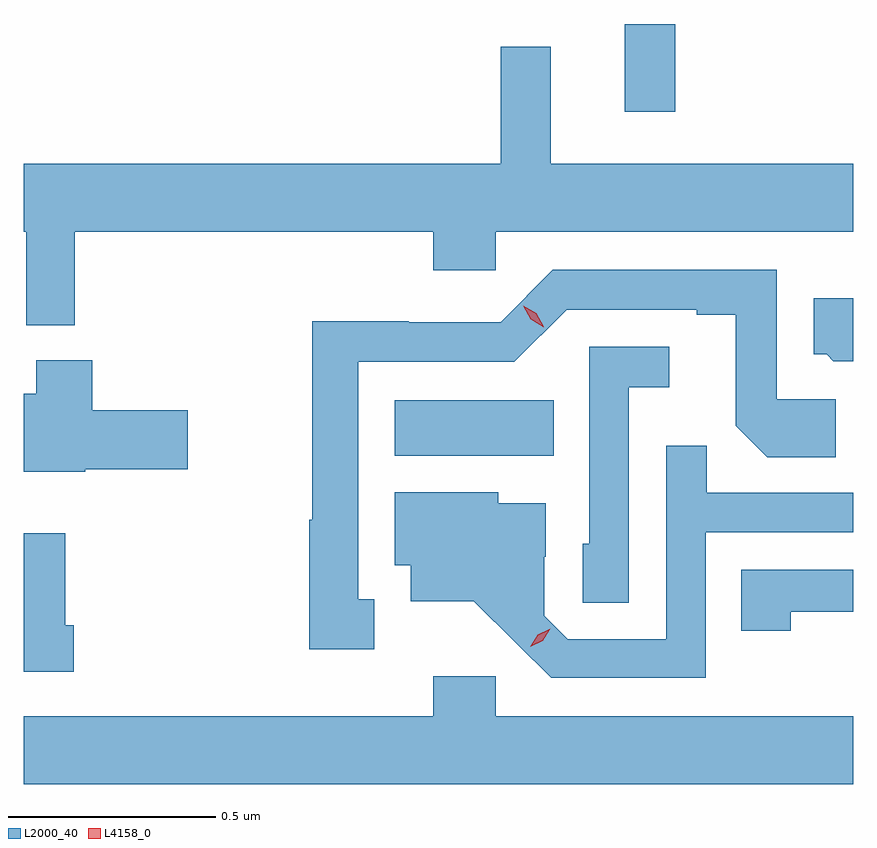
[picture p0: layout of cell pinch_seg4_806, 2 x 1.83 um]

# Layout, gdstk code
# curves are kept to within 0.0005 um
import gdstk
lib = gdstk.Library(unit=1e-6, precision=1e-09)
def R(c, l, rs):  # rectangles x0, y0, x1, y1
    for r in rs: c.add(gdstk.rectangle(r[:2], r[2:], *l))
def P(c, l, *ps):  # polygons
    for p in ps: c.add(gdstk.Polygon(p, *l))
L2000_40 = (2000, 40)
L4158_0 = (4158, 0)

pinch_seg4_806 = lib.new_cell('pinch_seg4_806')
R(pinch_seg4_806, L2000_40, [(796.046,818.924,796.43,819.058), (796.601,819.753,796.723,819.965)])
P(pinch_seg4_806, L2000_40, [(795.275,819.464),(796.139,819.464),(796.139,819.371),(796.29,819.371),(796.29,819.464),(797.152,819.464),(797.152,819.628),(796.423,819.628),(796.423,819.91),(796.302,819.91),(796.302,819.628),(795.152,819.628),(795.152,819.464),(795.158,819.464),(795.158,819.239),(795.275,819.239)],
  [(795.997,818.577),(795.958,818.577),(795.958,819.15),(796.335,819.15),(796.461,819.276),(796.775,819.276),(796.775,819.264),(796.869,819.264),(796.869,818.996),(796.945,818.92),(797.11,818.92),(797.11,819.06),(796.968,819.06),(796.968,819.372),(796.428,819.372),(796.302,819.246),(796.08,819.246),(796.08,819.248),(795.847,819.248),(795.847,818.769),(795.84,818.769),(795.84,818.457),(795.997,818.457)],
  [(797.152,819.304),(797.057,819.304),(797.057,819.168),(797.088,819.168),(797.104,819.152),(797.152,819.152)],
  [(796.611,819.089),(796.708,819.089),(796.708,819.186),(796.515,819.186),(796.515,818.712),(796.5,818.712),(796.5,818.569),(796.611,818.569)],
  [(795.3,818.891),(795.547,818.891),(795.547,819.033),(795.317,819.033),(795.317,819.154),(795.182,819.154),(795.182,819.073),(795.152,819.073),(795.152,818.885),(795.3,818.885)],
  [(796.797,818.739),(797.152,818.739),(797.152,818.835),(796.799,818.835),(796.799,818.948),(796.701,818.948),(796.701,818.481),(796.464,818.481),(796.407,818.538),(796.407,818.68),(796.411,818.68),(796.411,818.809),(796.296,818.809),(796.296,818.836),(796.046,818.836),(796.046,818.66),(796.085,818.66),(796.085,818.573),(796.237,818.573),(796.424,818.388),(796.797,818.388)],
  [(795.272,818.515),(795.252,818.515),(795.252,818.737),(795.152,818.737),(795.152,818.403),(795.272,818.403)],
  [(797.001,818.548),(797.152,818.548),(797.152,818.649),(796.882,818.649),(796.882,818.502),(797.001,818.502)],
  [(797.152,818.296),(796.29,818.296),(796.29,818.392),(796.139,818.392),(796.139,818.296),(795.152,818.296),(795.152,818.132),(797.152,818.132)])
P(pinch_seg4_806, L4158_0, [(796.373,818.463),(796.373,818.463),(796.391,818.492),(796.422,818.506),(796.422,818.506),(796.422,818.506),(796.404,818.477),(796.373,818.463)],
  [(796.406,819.234),(796.374,819.253),(796.356,819.285),(796.356,819.286),(796.356,819.286),(796.388,819.267),(796.406,819.235),(796.406,819.234)])

lib.write_gds('pinch_seg4_806.gds')
